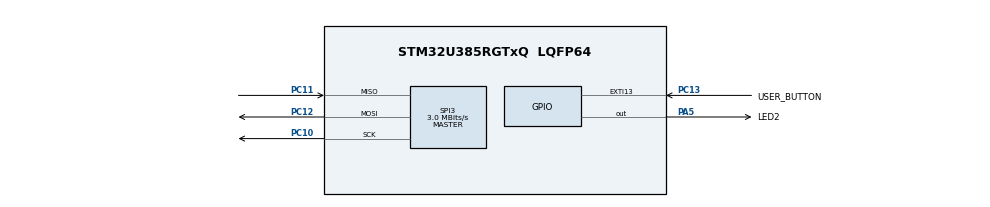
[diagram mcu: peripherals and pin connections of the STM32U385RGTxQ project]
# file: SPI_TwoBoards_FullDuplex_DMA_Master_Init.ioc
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CORTEX_M33_NS.userName=CORTEX_M33
GPDMA1.DESTINC_GPDMACH0=DMA_DINC_INCREMENTED
GPDMA1.DESTINC_GPDMACH1=DMA_DINC_FIXED
GPDMA1.DIRECTION_GPDMACH0=DMA_PERIPH_TO_MEMORY
GPDMA1.DIRECTION_GPDMACH1=DMA_MEMORY_TO_PERIPH
GPDMA1.IPHANDLE_GPDMACH0-SIMPLEREQUEST_GPDMACH0=__NULL
GPDMA1.IPHANDLE_GPDMACH1-SIMPLEREQUEST_GPDMACH1=__NULL
GPDMA1.REQUEST_GPDMACH0=GPDMA1_REQUEST_SPI3_RX
GPDMA1.REQUEST_GPDMACH1=GPDMA1_REQUEST_SPI3_TX
GPDMA1.SRCINC_GPDMACH0=DMA_SINC_FIXED
GPDMA1.SRCINC_GPDMACH1=DMA_SINC_INCREMENTED
Mcu.Family=STM32U3
Mcu.Name=STM32U385RGTxQ
Mcu.Package=LQFP64
NVIC.EXTI13_IRQn=true\:0\:0\:false\:false\:true\:true\:true\:true
NVIC.GPDMA1_Channel0_IRQn=true\:0\:0\:false\:false\:true\:false\:true\:true
NVIC.GPDMA1_Channel1_IRQn=true\:0\:0\:false\:false\:true\:true\:true\:true
NVIC.PriorityGroup=NVIC_PRIORITYGROUP_4
NVIC.SPI3_IRQn=true\:0\:0\:false\:false\:true\:false\:true\:true
PA5.GPIO_Label=LED2
PA5.Signal=GPIO_Output
PC10.Mode=Full_Duplex_Master
PC10.Signal=SPI3_SCK
PC11.Mode=Full_Duplex_Master
PC11.Signal=SPI3_MISO
PC12.Mode=Full_Duplex_Master
PC12.Signal=SPI3_MOSI
PC13.GPIO_Label=USER_BUTTON
PC13.GPIO_PuPd=GPIO_PULLDOWN
PC13.Signal=GPXTI13
ProjectManager.HeapSize=0x200
ProjectManager.StackSize=0x400
ProjectManager.TargetToolchain=EWARM V9.20
RCC.ADCFreq_Value=96000000
RCC.AHBFreq_Value=96000000
RCC.APB1Freq_Value=96000000
RCC.APB1TimFreq_Value=96000000
RCC.APB2Freq_Value=96000000
RCC.APB2TimFreq_Value=96000000
RCC.APB3Freq_Value=96000000
RCC.CortexFreq_Value=12000000
RCC.HCLKFreq_Value=96000000
RCC.HSE_VALUE=16000000
RCC.HSI48_VALUE=48000000
RCC.HSI_VALUE=16000000
RCC.LSE_VALUE=32768
RCC.LSIDIV_VALUE=32000
RCC.MSISDIV=RCC_MSI_DIV1
RCC.SYSCLKFreq_VALUE=96000000
RCC.USBFreq_Value=96000000
SPI3.BaudRatePrescaler=SPI_BAUDRATEPRESCALER_32
SPI3.CalculateBaudRate=3.0 MBits/s
SPI3.Direction=SPI_DIRECTION_2LINES
SPI3.Mode=SPI_MODE_MASTER
SPI3.VirtualType=VM_MASTER
VP_GPDMA1_VS_GPDMACH0.Mode=SIMPLEREQUEST_GPDMACH0
VP_GPDMA1_VS_GPDMACH1.Mode=SIMPLEREQUEST_GPDMACH1
VP_ICACHE_VS_ICACHE.Mode=DirectMappedCache
VP_PWR_VS_DBSignals.Mode=DisableDeadBatterySignals
VP_PWR_VS_LPOM.Mode=PowerOptimisation
VP_PWR_VS_SECSignals.Mode=Security/Privilege
board=custom

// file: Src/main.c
/* USER CODE BEGIN Header */
/**
  ******************************************************************************
  * @file    Examples_LL/SPI/SPI_TwoBoards_FullDuplex_DMA_Master_Init/Src/main.c
  * @author  MCD Application Team
  * @brief   This example describes how to send/receive bytes over SPI IP using
  *          the STM32U3xx SPI LL API.
  *          Peripheral initialization done using LL initialization function.
  ******************************************************************************
  * @attention
  *
  * Copyright (c) 2024 STMicroelectronics.
  * All rights reserved.
  *
  * This software is licensed under terms that can be found in the LICENSE file
  * in the root directory of this software component.
  * If no LICENSE file comes with this software, it is provided AS-IS.
  *
  ******************************************************************************
  */
/* USER CODE END Header */
#include "main.h"

/* USER CODE BEGIN PV */

__IO uint8_t ubButtonPress = 0;

/* Buffer used for transmission */
uint8_t aTxBuffer[] = "**** SPI_TwoBoards_FullDuplex_DMA communication **** SPI_TwoBoards_FullDuplex_DMA communication **** SPI_TwoBoards_FullDuplex_DMA communication ****";
uint8_t ubNbDataToTransmit = sizeof(aTxBuffer);
__IO uint8_t ubTransmissionComplete = 0;

/* Buffer used for reception */
uint8_t aRxBuffer[sizeof(aTxBuffer)];
uint8_t ubNbDataToReceive  = sizeof(aTxBuffer);
__IO uint8_t ubReceptionComplete = 0;

/* USER CODE END PV */

void SystemClock_Config(void);
static void MX_GPIO_Init(void);
static void MX_GPDMA1_Init(void);
static void MX_SPI3_Init(void);
static void MX_ICACHE_Init(void);
/* USER CODE BEGIN PFP */
void     Activate_SPI3(void);
void     LED_On(void);
void     LED_Blinking(uint32_t Period);
void     LED_Off(void);
void     WaitForUserButtonPress(void);
void     WaitAndCheckEndOfTransfer(void);
uint8_t  Buffercmp8(uint8_t *pBuffer1, uint8_t *pBuffer2, uint8_t BufferLength);
/* USER CODE END PFP */

int main(void)
{

  /* MCU Configuration--------------------------------------------------------*/

  /* Reset of all peripherals, Initializes the Flash interface and the Systick. */

  /* System interrupt init*/
  NVIC_SetPriorityGrouping(NVIC_PRIORITYGROUP_4);

  /* SysTick_IRQn interrupt configuration */
  NVIC_SetPriority(SysTick_IRQn, NVIC_EncodePriority(NVIC_GetPriorityGrouping(),15, 0));

  /* Configure the system clock */
  SystemClock_Config();

  /* Initialize all configured peripherals */
  MX_GPIO_Init();
  MX_GPDMA1_Init();
  MX_SPI3_Init();
  MX_ICACHE_Init();
  /* USER CODE BEGIN 2 */
  /* Wait for User push-button press to start transfer */
  WaitForUserButtonPress();

  /* Enable the SPI3 peripheral */
  Activate_SPI3();

  /* Wait for the end of the transfer and check received data */
  /* LED blinking FAST during waiting time */
  WaitAndCheckEndOfTransfer();
  /* USER CODE END 2 */

  /* Infinite loop */
  while (1)
  {

  }
}

void SystemClock_Config(void)
{
  /** Enable Epod Booster
  */
  LL_AHB1_GRP2_EnableClock(LL_AHB1_GRP2_PERIPH_PWR);
  LL_RCC_SetEPODBoosterClkSource(LL_RCC_EPODBOOSTCLKSRCE_MSIS);
  LL_RCC_SetEPODBoosterClkPrescaler(LL_RCC_EPODBOOSTCLKPRESCAL_1);
  LL_PWR_EnableEPODBooster();
  while(LL_PWR_IsActiveFlag_BOOST() != 1U)
  {
  }

  /** Configure the main internal regulator output voltage
  */
  LL_PWR_SetRegulVoltageScaling(LL_PWR_REGU_VOLTAGE_SCALE1);
  while(LL_PWR_GetRegulCurrentVOS() != LL_PWR_REGU_VOLTAGE_SCALE1)
  {
  }

  /** Set Flash latency before switching to MSIS
  */
  LL_FLASH_SetLatency(LL_FLASH_LATENCY_2);
  while(LL_FLASH_GetLatency() != LL_FLASH_LATENCY_2)
  {
  }

  /** Activate MSIS as source
  */
  LL_RCC_MSIS_SetClockSource(LL_RCC_MSIS_CLOCK_SOURCE_RC0);
  LL_RCC_MSIS_SetClockDivision(LL_RCC_MSIS_CLOCK_SOURCE_RC_DIV_1);
  LL_RCC_MSI_SetMSIxClockRange();
  LL_RCC_SetSysClkSource(LL_RCC_SYS_CLKSOURCE_MSIS);

  /** Wait till System clock is ready
  */
  while(LL_RCC_GetSysClkSource() != LL_RCC_SYS_CLKSOURCE_MSIS)
  {
  }

  LL_RCC_SetAHBPrescaler(LL_RCC_HCLK_SYSCLK_DIV_1);
  LL_RCC_SetAPB1Prescaler(LL_RCC_APB1_HCLK_DIV_1);
  LL_RCC_SetAPB2Prescaler(LL_RCC_APB2_HCLK_DIV_1);
  LL_RCC_SetAPB3Prescaler(LL_RCC_APB3_HCLK_DIV_1);

  LL_Init1msTick(96000000);

  LL_SetSystemCoreClock(96000000);
}

static void MX_GPDMA1_Init(void)
{

  /* Peripheral clock enable */
  LL_AHB1_GRP1_EnableClock(LL_AHB1_GRP1_PERIPH_GPDMA1);

  /* GPDMA1 interrupt Init */
  NVIC_SetPriority(GPDMA1_Channel0_IRQn, NVIC_EncodePriority(NVIC_GetPriorityGrouping(),0, 0));
  NVIC_EnableIRQ(GPDMA1_Channel0_IRQn);
  NVIC_SetPriority(GPDMA1_Channel1_IRQn, NVIC_EncodePriority(NVIC_GetPriorityGrouping(),0, 0));
  NVIC_EnableIRQ(GPDMA1_Channel1_IRQn);

}

static void MX_ICACHE_Init(void)
{

  /** Enable instruction cache in 1-way (direct mapped cache)
  */
  LL_ICACHE_SetMode(LL_ICACHE_1WAY);
  LL_ICACHE_Enable();

}

static void MX_SPI3_Init(void)
{

  LL_SPI_InitTypeDef SPI_InitStruct = {0};

  LL_GPIO_InitTypeDef GPIO_InitStruct = {0};
  LL_DMA_InitTypeDef DMA_InitStruct = {0};

  LL_RCC_SetSPIClockSource(LL_RCC_SPI3_CLKSOURCE_PCLK1);

  /* Peripheral clock enable */
  LL_APB1_GRP1_EnableClock(LL_APB1_GRP1_PERIPH_SPI3);

  LL_AHB2_GRP1_EnableClock(LL_AHB2_GRP1_PERIPH_GPIOC);
  /**SPI3 GPIO Configuration
  PC10   ------> SPI3_SCK
  PC11   ------> SPI3_MISO
  PC12   ------> SPI3_MOSI
  */
  GPIO_InitStruct.Pin = LL_GPIO_PIN_10|LL_GPIO_PIN_11|LL_GPIO_PIN_12;
  GPIO_InitStruct.Mode = LL_GPIO_MODE_ALTERNATE;
  GPIO_InitStruct.Speed = LL_GPIO_SPEED_FREQ_LOW;
  GPIO_InitStruct.OutputType = LL_GPIO_OUTPUT_PUSHPULL;
  GPIO_InitStruct.Pull = LL_GPIO_PULL_NO;
  GPIO_InitStruct.Alternate = LL_GPIO_AF_6;
  LL_GPIO_Init(GPIOC, &GPIO_InitStruct);

  /* SPI3 DMA Init */

  /* GPDMA1_REQUEST_SPI3_TX Init */
  DMA_InitStruct.SrcAddress = 0x00000000U;
  DMA_InitStruct.DestAddress = 0x00000000U;
  DMA_InitStruct.Direction = LL_DMA_DIRECTION_MEMORY_TO_PERIPH;
  DMA_InitStruct.BlkHWRequest = LL_DMA_HWREQUEST_SINGLEBURST;
  DMA_InitStruct.DataAlignment = LL_DMA_DATA_ALIGN_ZEROPADD;
  DMA_InitStruct.SrcBurstLength = 1;
  DMA_InitStruct.DestBurstLength = 1;
  DMA_InitStruct.SrcDataWidth = LL_DMA_SRC_DATAWIDTH_BYTE;
  DMA_InitStruct.DestDataWidth = LL_DMA_DEST_DATAWIDTH_BYTE;
  DMA_InitStruct.SrcIncMode = LL_DMA_SRC_INCREMENT;
  DMA_InitStruct.DestIncMode = LL_DMA_DEST_FIXED;
  DMA_InitStruct.Priority = LL_DMA_LOW_PRIORITY_LOW_WEIGHT;
  DMA_InitStruct.BlkDataLength = 0x00000000U;
  DMA_InitStruct.TriggerMode = LL_DMA_TRIGM_BLK_TRANSFER;
  DMA_InitStruct.TriggerPolarity = LL_DMA_TRIG_POLARITY_MASKED;
  DMA_InitStruct.TriggerSelection = 0x00000000U;
  DMA_InitStruct.Request = LL_GPDMA1_REQUEST_SPI3_TX;
  DMA_InitStruct.TransferEventMode = LL_DMA_TCEM_BLK_TRANSFER;
  DMA_InitStruct.SrcAllocatedPort = LL_DMA_SRC_ALLOCATED_PORT0;
  DMA_InitStruct.DestAllocatedPort = LL_DMA_DEST_ALLOCATED_PORT0;
  DMA_InitStruct.LinkAllocatedPort = LL_DMA_LINK_ALLOCATED_PORT1;
  DMA_InitStruct.LinkStepMode = LL_DMA_LSM_FULL_EXECUTION;
  DMA_InitStruct.LinkedListBaseAddr = 0x00000000U;
  DMA_InitStruct.LinkedListAddrOffset = 0x00000000U;
  LL_DMA_Init(GPDMA1, LL_DMA_CHANNEL_1, &DMA_InitStruct);

  /* GPDMA1_REQUEST_SPI3_RX Init */
  DMA_InitStruct.SrcAddress = 0x00000000U;
  DMA_InitStruct.DestAddress = 0x00000000U;
  DMA_InitStruct.Direction = LL_DMA_DIRECTION_PERIPH_TO_MEMORY;
  DMA_InitStruct.BlkHWRequest = LL_DMA_HWREQUEST_SINGLEBURST;
  DMA_InitStruct.DataAlignment = LL_DMA_DATA_ALIGN_ZEROPADD;
  DMA_InitStruct.SrcBurstLength = 1;
  DMA_InitStruct.DestBurstLength = 1;
  DMA_InitStruct.SrcDataWidth = LL_DMA_SRC_DATAWIDTH_BYTE;
  DMA_InitStruct.DestDataWidth = LL_DMA_DEST_DATAWIDTH_BYTE;
  DMA_InitStruct.SrcIncMode = LL_DMA_SRC_FIXED;
  DMA_InitStruct.DestIncMode = LL_DMA_DEST_INCREMENT;
  DMA_InitStruct.Priority = LL_DMA_LOW_PRIORITY_LOW_WEIGHT;
  DMA_InitStruct.BlkDataLength = 0x00000000U;
  DMA_InitStruct.TriggerMode = LL_DMA_TRIGM_BLK_TRANSFER;
  DMA_InitStruct.TriggerPolarity = LL_DMA_TRIG_POLARITY_MASKED;
  DMA_InitStruct.TriggerSelection = 0x00000000U;
  DMA_InitStruct.Request = LL_GPDMA1_REQUEST_SPI3_RX;
  DMA_InitStruct.TransferEventMode = LL_DMA_TCEM_BLK_TRANSFER;
  DMA_InitStruct.SrcAllocatedPort = LL_DMA_SRC_ALLOCATED_PORT0;
  DMA_InitStruct.DestAllocatedPort = LL_DMA_DEST_ALLOCATED_PORT0;
  DMA_InitStruct.LinkAllocatedPort = LL_DMA_LINK_ALLOCATED_PORT1;
  DMA_InitStruct.LinkStepMode = LL_DMA_LSM_FULL_EXECUTION;
  DMA_InitStruct.LinkedListBaseAddr = 0x00000000U;
  DMA_InitStruct.LinkedListAddrOffset = 0x00000000U;
  LL_DMA_Init(GPDMA1, LL_DMA_CHANNEL_0, &DMA_InitStruct);

  /* SPI3 interrupt Init */
  NVIC_SetPriority(SPI3_IRQn, NVIC_EncodePriority(NVIC_GetPriorityGrouping(),0, 0));
  NVIC_EnableIRQ(SPI3_IRQn);

  /* USER CODE BEGIN SPI3_Init 1 */
  /* Configure the GPDMA1_Channel0 functional parameters */
  LL_DMA_ConfigAddresses(GPDMA1, LL_DMA_CHANNEL_0,
                         LL_SPI_DMA_GetRxRegAddr(SPI3), (uint32_t)aRxBuffer);

  LL_DMA_SetBlkDataLength(GPDMA1, LL_DMA_CHANNEL_0, ubNbDataToReceive);

  /* Enable DMA interrupts complete/error */
  LL_DMA_EnableIT_TC(GPDMA1, LL_DMA_CHANNEL_0);
  LL_DMA_EnableIT_DTE(GPDMA1, LL_DMA_CHANNEL_0);

  /* Configure the GPDMA1_Channel1 functional parameters */
  LL_DMA_ConfigAddresses(GPDMA1, LL_DMA_CHANNEL_1,
                         (uint32_t)aTxBuffer, LL_SPI_DMA_GetTxRegAddr(SPI3));

  LL_DMA_SetBlkDataLength(GPDMA1, LL_DMA_CHANNEL_1, ubNbDataToTransmit);

  /* Enable DMA interrupts complete/error */
  LL_DMA_EnableIT_TC(GPDMA1, LL_DMA_CHANNEL_1);
  LL_DMA_EnableIT_DTE(GPDMA1, LL_DMA_CHANNEL_1);

  /* Enable DMA Channels */
  LL_DMA_EnableChannel(GPDMA1, LL_DMA_CHANNEL_0);
  LL_DMA_EnableChannel(GPDMA1, LL_DMA_CHANNEL_1);
  /* USER CODE END SPI3_Init 1 */
  /* SPI3 parameter configuration*/
  SPI_InitStruct.TransferDirection = LL_SPI_FULL_DUPLEX;
  SPI_InitStruct.Mode = LL_SPI_MODE_MASTER;
  SPI_InitStruct.DataWidth = LL_SPI_DATAWIDTH_8BIT;
  SPI_InitStruct.ClockPolarity = LL_SPI_POLARITY_LOW;
  SPI_InitStruct.ClockPhase = LL_SPI_PHASE_1EDGE;
  SPI_InitStruct.NSS = LL_SPI_NSS_SOFT;
  SPI_InitStruct.BaudRate = LL_SPI_BAUDRATEPRESCALER_DIV32;
  SPI_InitStruct.BitOrder = LL_SPI_MSB_FIRST;
  SPI_InitStruct.CRCCalculation = LL_SPI_CRCCALCULATION_DISABLE;
  SPI_InitStruct.CRCPoly = 0x7;
  LL_SPI_Init(SPI3, &SPI_InitStruct);
  LL_SPI_SetStandard(SPI3, LL_SPI_PROTOCOL_MOTOROLA);
  LL_SPI_EnableNSSPulseMgt(SPI3);
  /* USER CODE BEGIN SPI3_Init 2 */
  /* Configure SPI3 DMA transfer interrupts */
  /* Enable DMA RX Interrupt */
  LL_SPI_EnableDMAReq_RX(SPI3);
  /* Enable DMA TX Interrupt */
  LL_SPI_EnableDMAReq_TX(SPI3);
  /* Set transfer size */
  LL_SPI_SetTransferSize(SPI3, ubNbDataToTransmit);
  /* USER CODE END SPI3_Init 2 */

}

static void MX_GPIO_Init(void)
{
  LL_EXTI_InitTypeDef EXTI_InitStruct = {0};
  LL_GPIO_InitTypeDef GPIO_InitStruct = {0};

  /* GPIO Ports Clock Enable */
  LL_AHB2_GRP1_EnableClock(LL_AHB2_GRP1_PERIPH_GPIOC);
  LL_AHB2_GRP1_EnableClock(LL_AHB2_GRP1_PERIPH_GPIOA);

  /**/
  LL_GPIO_ResetOutputPin(LED2_GPIO_Port, LED2_Pin);

  /**/
  LL_EXTI_SetEXTISource(LL_EXTI_CONFIG_PORTC, LL_EXTI_CONFIG_LINE13);

  /**/
  EXTI_InitStruct.Line_0_31 = LL_EXTI_LINE_13;
  EXTI_InitStruct.LineCommand = ENABLE;
  EXTI_InitStruct.Mode = LL_EXTI_MODE_IT;
  EXTI_InitStruct.Trigger = LL_EXTI_TRIGGER_RISING;
  LL_EXTI_Init(&EXTI_InitStruct);

  /**/
  LL_GPIO_SetPinPull(USER_BUTTON_GPIO_Port, USER_BUTTON_Pin, LL_GPIO_PULL_DOWN);

  /**/
  LL_GPIO_SetPinMode(USER_BUTTON_GPIO_Port, USER_BUTTON_Pin, LL_GPIO_MODE_INPUT);

  /**/
  GPIO_InitStruct.Pin = LED2_Pin;
  GPIO_InitStruct.Mode = LL_GPIO_MODE_OUTPUT;
  GPIO_InitStruct.Speed = LL_GPIO_SPEED_FREQ_LOW;
  GPIO_InitStruct.OutputType = LL_GPIO_OUTPUT_PUSHPULL;
  GPIO_InitStruct.Pull = LL_GPIO_PULL_NO;
  LL_GPIO_Init(LED2_GPIO_Port, &GPIO_InitStruct);

  /* EXTI interrupt init*/
  NVIC_SetPriority(EXTI13_IRQn, NVIC_EncodePriority(NVIC_GetPriorityGrouping(),0, 0));
  NVIC_EnableIRQ(EXTI13_IRQn);

}

/* USER CODE BEGIN 4 */

/**
  * @brief  This function Activate SPI3
  * @param  None
  * @retval None
  */
void Activate_SPI3(void)
{
  /* Enable SPI3 */
  LL_SPI_Enable(SPI3);
  /* Start Master transfer */
  LL_SPI_StartMasterTransfer(SPI3);
}

/**
  * @brief  Turn-on LD2.
  * @param  None
  * @retval None
  */
void LED_On(void)
{
  /* Turn LD2 on */
  LL_GPIO_SetOutputPin(LED2_GPIO_Port, LED2_Pin);
}

/**
  * @brief  Turn-off LD2.
  * @param  None
  * @retval None
  */
void LED_Off(void)
{
  /* Turn LD2 off */
  LL_GPIO_ResetOutputPin(LED2_GPIO_Port, LED2_Pin);
}

/**
  * @brief  Set LD2 to Blinking mode for an infinite loop (toggle period based on value provided as input parameter).
  * @param  Period : Period of time (in ms) between each toggling of LED
  *   This parameter can be user defined values. Pre-defined values used in that example are :
  *     @arg LED_BLINK_FAST : Fast Blinking
  *     @arg LED_BLINK_SLOW : Slow Blinking
  *     @arg LED_BLINK_ERROR : Error specific Blinking
  * @retval None
  */
void LED_Blinking(uint32_t Period)
{
  /* Toggle LD2 in an infinite loop */
  while (1)
  {
    LL_GPIO_TogglePin(LED2_GPIO_Port, LED2_Pin);
    LL_mDelay(Period);
  }
}

/**
  * @brief  Wait for User push-button press to start transfer.
  * @param  None
  * @retval None
  */
/*  */
void WaitForUserButtonPress(void)
{
  while (ubButtonPress == 0)
  {
    LL_GPIO_TogglePin(LED2_GPIO_Port, LED2_Pin);
    LL_mDelay(LED_BLINK_FAST);
  }
  /* Ensure that LD2 is turned Off */
  LED_Off();
}

/**
  * @brief  Wait end of transfer and check if received Data are well.
  * @param  None
  * @retval None
  */
void WaitAndCheckEndOfTransfer(void)
{
  /* 1 - Wait end of transmission */
  while (ubTransmissionComplete != 1)
  {
  }
  /* Disable GPDMA1 Tx Channel */
  LL_DMA_DisableChannel(GPDMA1, LL_DMA_CHANNEL_1);
  /* 2 - Wait end of reception */
  while (ubReceptionComplete != 1)
  {
  }
  /* Disable GPDMA1 Rx Channel */
  LL_DMA_DisableChannel(GPDMA1, LL_DMA_CHANNEL_0);
  /* 3 - Compare Transmit data to receive data */
  if (Buffercmp8((uint8_t *)aTxBuffer, (uint8_t *)aRxBuffer, ubNbDataToTransmit))
  {
    /* Processing Error */
    LED_Blinking(LED_BLINK_ERROR);
  }
  else
  {
    /* Turn On Led if data are well received */
    LED_On();
  }
}

/**
* @brief Compares two 8-bit buffers and returns the comparison result.
* @param pBuffer1: pointer to the source buffer to be compared to.
* @param pBuffer2: pointer to the second source buffer to be compared to the first.
* @param BufferLength: buffer's length.
* @retval   0: Comparison is OK (the two Buffers are identical)
*           Value different from 0: Comparison is NOK (Buffers are different)
*/
uint8_t Buffercmp8(uint8_t *pBuffer1, uint8_t *pBuffer2, uint8_t BufferLength)
{
  while (BufferLength--)
  {
    if (*pBuffer1 != *pBuffer2)
    {
      return 1;
    }

    pBuffer1++;
    pBuffer2++;
  }

  return 0;
}

/******************************************************************************/
/*   USER IRQ HANDLER TREATMENT Functions                                     */
/******************************************************************************/
/**
  * @brief  Function to manage User push-button
  * @param  None
  * @retval None
  */
void UserButton_Callback(void)
{
  /* Update User push-button variable : to be checked in waiting loop in main program */
  ubButtonPress = 1;
}

/**
  * @brief  Function called from GPDMA1 IRQ Handler when Rx transfer is completed
  * @param  None
  * @retval None
  */
void GPDMA1_ReceiveComplete_Callback(void)
{
  /* DMA Rx transfer completed */
  ubReceptionComplete = 1;
}

/**
  * @brief  Function called from GPDMA1 IRQ Handler when Tx transfer is completed
  * @param  None
  * @retval None
  */
void GPDMA1_TransmitComplete_Callback(void)
{
  /* DMA Tx transfer completed */
  ubTransmissionComplete = 1;
}

/**
  * @brief  Function called in case of error detected in SPI IT Handler
  * @param  None
  * @retval None
  */
void SPI3_TransferError_Callback(void)
{
  /* Disable GPDMA1 Rx Channel */
  LL_DMA_DisableChannel(GPDMA1, LL_DMA_CHANNEL_0);
  /* Disable GPDMA1 Tx Channel */
  LL_DMA_DisableChannel(GPDMA1, LL_DMA_CHANNEL_1);

  /* Set LD2 to Blinking mode to indicate error occurs */
  LED_Blinking(LED_BLINK_ERROR);
}

/* USER CODE END 4 */

void Error_Handler(void)
{
}
